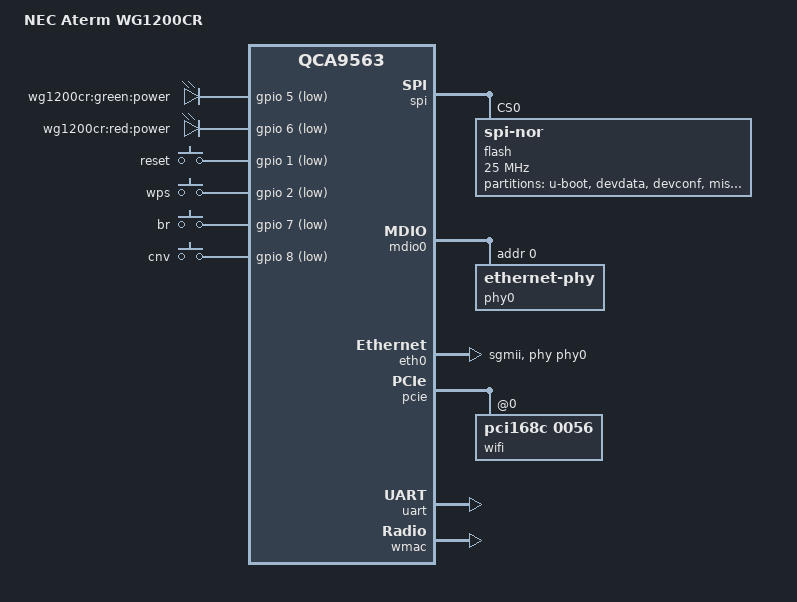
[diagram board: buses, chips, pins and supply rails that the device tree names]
// SPDX-License-Identifier: GPL-2.0-or-later OR MIT
/dts-v1/;

#include <dt-bindings/gpio/gpio.h>
#include <dt-bindings/input/input.h>

#include "qca956x.dtsi"

/ {
	model = "NEC Aterm WG1200CR";
	compatible = "nec,wg1200cr", "qca,qca9563";

	aliases {
		led-boot = &led_power_green;
		led-failsafe = &led_power_red;
		led-running = &led_power_green;
		led-upgrade = &led_power_green;
	};

	leds {
		compatible = "gpio-leds";
		/* other LEDs are connected to ath10k (QCA9888) gpiochip */

		led_power_green: power_green {
			label = "wg1200cr:green:power";
			gpios = <&gpio 5 GPIO_ACTIVE_LOW>;
			default-state = "on";
		};

		led_power_red: power_red {
			label = "wg1200cr:red:power";
			gpios = <&gpio 6 GPIO_ACTIVE_LOW>;
		};
	};

	keys {
		compatible = "gpio-keys";

		reset {
			label = "reset";
			gpios = <&gpio 1 GPIO_ACTIVE_LOW>;
			linux,code = <KEY_RESTART>;
			debounce-interval = <60>;
		};

		wps {
			label = "wps";
			gpios = <&gpio 2 GPIO_ACTIVE_LOW>;
			linux,code = <KEY_WPS_BUTTON>;
			debounce-interval = <60>;
		};

		bridge {
			label = "br";
			gpios = <&gpio 7 GPIO_ACTIVE_LOW>;
			linux,code = <BTN_0>;
			linux,input-type = <EV_SW>;
			debounce-interval = <60>;
		};

		converter {
			label = "cnv";
			gpios = <&gpio 8 GPIO_ACTIVE_LOW>;
			linux,code = <BTN_0>;
			linux,input-type = <EV_SW>;
			debounce-interval = <60>;
		};
	};
};

&spi {
	status = "okay";

	num-cs = <1>;

	flash@0 {
		compatible = "jedec,spi-nor";
		reg = <0>;
		spi-max-frequency = <25000000>;

		partitions {
			compatible = "fixed-partitions";
			#address-cells = <1>;
			#size-cells = <1>;

			partition@0 {
				label = "u-boot";
				reg = <0x000000 0x040000>;
				read-only;
			};

			partition@40000 {
				label = "devdata";
				reg = <0x040000 0x010000>;
				read-only;
			};

			partition@50000 {
				label = "devconf";
				reg = <0x050000 0x010000>;
				read-only;
			};

			partition@60000 {
				label = "misc";
				reg = <0x060000 0x010000>;
				read-only;
			};

			partition@70000 {
				label = "wifimngdata";
				reg = <0x070000 0x010000>;
				read-only;
			};

			partition@80000 {
				compatible = "seama";
				label = "firmware";
				reg = <0x080000 0x770000>;
			};

			partition@7f0000 {
				label = "art";
				reg = <0x7f0000 0x010000>;
				read-only;
			};
		};
	};
};

&mdio0 {
	status = "okay";

	phy0: ethernet-phy@0 {
		reg = <0>;

		qca,ar8327-initvals = <
			0x04 0x00000080 /* PORT0 PAD MODE CTRL */
			0x50 0xcc35cc35 /* LED_CTRL0 */
			0x54 0xca35ca35 /* LED_CTRL1 */
			0x58 0xc935c935 /* LED_CTRL2 */
			0x5c 0x03ffff00 /* LED_CTRL3 */
			0x7c 0x0000007e /* PORT0_STATUS */
		>;
	};
};

&eth0 {
	status = "okay";

	pll-data = <0x03000101 0x00000101 0x00001919>;

	phy-mode = "sgmii";
	phy-handle = <&phy0>;
};

&pcie {
	status = "okay";

	wifi@0,0 {
		compatible = "pci168c,0056";
		reg = <0x0000 0 0 0 0>;
	};
};

&uart {
	status = "okay";
};

&wmac {
	status = "okay";

	qca,no-eeprom;
};
